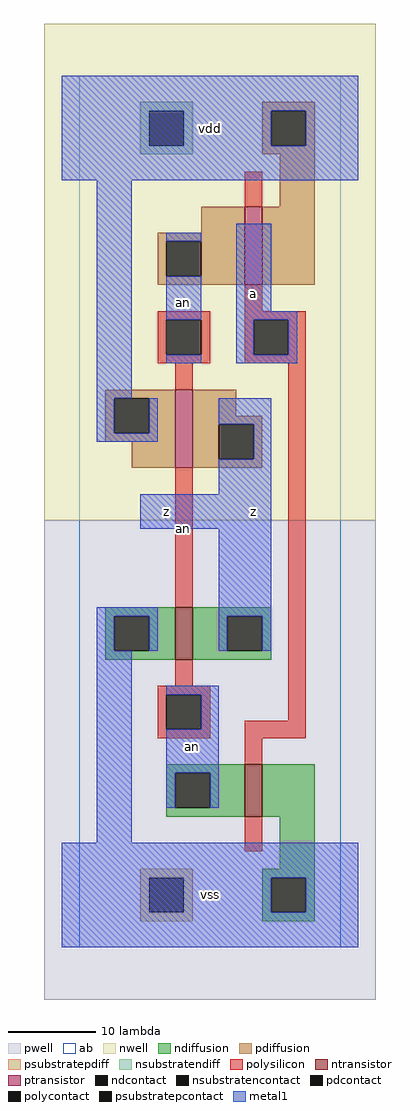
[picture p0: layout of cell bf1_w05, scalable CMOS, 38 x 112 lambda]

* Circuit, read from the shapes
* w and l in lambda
.subckt bf1_w05 a an vdd vss z
M1 z an vss vss nfet w=6 l=2
M2 vss a an vss nfet w=6 l=2
M3 z an vdd vdd pfet w=9 l=2
M4 vdd a an vdd pfet w=9 l=2
.ends

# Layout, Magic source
magic
tech scmos
<< ab >>
rect 0 0 30 100
<< pwell >>
rect -4 -6 34 49
<< nwell >>
rect -4 49 34 106
<< polysilicon >>
rect 19 85 21 89
rect 19 73 21 76
rect 9 72 15 73
rect 9 68 10 72
rect 14 68 15 72
rect 9 67 15 68
rect 19 72 26 73
rect 19 68 20 72
rect 24 68 26 72
rect 19 67 26 68
rect 11 64 13 67
rect 11 39 13 55
rect 11 30 13 33
rect 9 29 15 30
rect 9 25 10 29
rect 14 25 15 29
rect 24 26 26 67
rect 9 24 15 25
rect 19 24 26 26
rect 19 21 21 24
rect 19 11 21 15
<< ndiffusion >>
rect 3 38 11 39
rect 3 34 4 38
rect 8 34 11 38
rect 3 33 11 34
rect 13 38 22 39
rect 13 34 17 38
rect 21 34 22 38
rect 13 33 22 34
rect 10 20 19 21
rect 10 16 11 20
rect 15 16 19 20
rect 10 15 19 16
rect 21 15 27 21
rect 23 9 27 15
rect 21 8 27 9
rect 21 4 22 8
rect 26 4 27 8
rect 21 3 27 4
<< pdiffusion >>
rect 21 96 27 97
rect 21 92 22 96
rect 26 92 27 96
rect 21 91 27 92
rect 23 85 27 91
rect 14 82 19 85
rect 9 81 19 82
rect 9 77 10 81
rect 14 77 19 81
rect 9 76 19 77
rect 21 76 27 85
rect 3 63 11 64
rect 3 59 4 63
rect 8 59 11 63
rect 3 58 11 59
rect 6 55 11 58
rect 13 61 18 64
rect 13 60 21 61
rect 13 56 16 60
rect 20 56 21 60
rect 13 55 21 56
<< metal1 >>
rect -2 96 32 100
rect -2 92 22 96
rect 26 92 32 96
rect -2 88 32 92
rect 2 63 6 88
rect 10 81 14 82
rect 10 72 14 77
rect 10 67 14 68
rect 18 73 22 83
rect 18 72 25 73
rect 18 68 20 72
rect 24 68 25 72
rect 18 67 25 68
rect 2 59 4 63
rect 8 59 9 63
rect 2 58 9 59
rect 16 60 22 63
rect 20 56 22 60
rect 16 52 22 56
rect 7 48 22 52
rect 2 38 9 39
rect 2 34 4 38
rect 8 34 9 38
rect 16 38 22 48
rect 16 34 17 38
rect 21 34 22 38
rect 2 12 6 34
rect 10 29 16 30
rect 14 25 16 29
rect 10 20 16 25
rect 10 16 11 20
rect 15 16 16 20
rect -2 8 32 12
rect -2 4 22 8
rect 26 4 32 8
rect -2 0 32 4
<< ntransistor >>
rect 11 33 13 39
rect 19 15 21 21
<< ptransistor >>
rect 19 76 21 85
rect 11 55 13 64
<< polycontact >>
rect 10 68 14 72
rect 20 68 24 72
rect 10 25 14 29
<< ndcontact >>
rect 4 34 8 38
rect 17 34 21 38
rect 11 16 15 20
rect 22 4 26 8
<< pdcontact >>
rect 22 92 26 96
rect 10 77 14 81
rect 4 59 8 63
rect 16 56 20 60
<< psubstratepcontact >>
rect 8 4 12 8
<< nsubstratencontact >>
rect 8 92 12 96
<< psubstratepdiff >>
rect 7 8 13 9
rect 7 4 8 8
rect 12 4 13 8
rect 7 3 13 4
<< nsubstratendiff >>
rect 7 96 13 97
rect 7 92 8 96
rect 12 92 13 96
rect 7 91 13 92
<< labels >>
rlabel polysilicon 12 48 12 48 6 an
rlabel metal1 10 50 10 50 6 z
rlabel metal1 10 50 10 50 6 z
rlabel metal1 12 74 12 74 6 an
rlabel metal1 15 6 15 6 6 vss
rlabel metal1 15 6 15 6 6 vss
rlabel metal1 13 23 13 23 6 an
rlabel metal1 20 50 20 50 6 z
rlabel metal1 20 50 20 50 6 z
rlabel metal1 20 75 20 75 6 a
rlabel metal1 20 75 20 75 6 a
rlabel metal1 15 94 15 94 6 vdd
rlabel metal1 15 94 15 94 6 vdd
<< end >>
